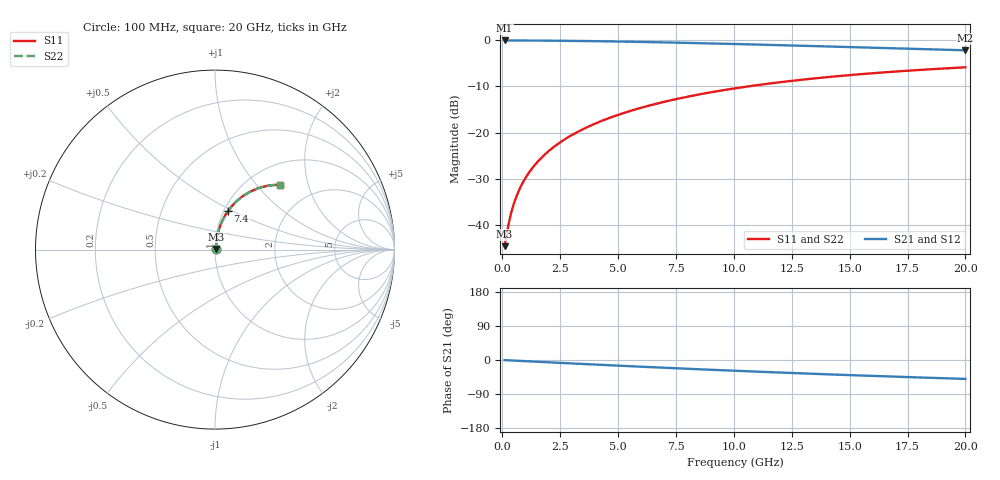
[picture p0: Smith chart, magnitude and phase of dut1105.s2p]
! Touchstone file exported from HFSS 2024.1.0
!  File:  C:/UserFiles/LocalFiles/RDL_TSV_Batchsim/temp_RDL_top_1105_1780046470.aedt
!  Generated:  05:23:22 PM May 29, 2026
!  Design:  RDL_top
!  Project:  temp_RDL_top_1105_1780046470
!  Setup:  Setup1
!  Solution:  Sweep
! Variables:
!  dtsv = 10.80580581um
!  hbump = 3um
!  htsv = 95.05um
!  ldown = 100um
!  lrdl = 646.43um
!  p = 40
!  p1 = 57.04um
!  rhole = 1um
!  t = 450um
!  tdown = 3.915915916um
!  trdl = 3.03um
!  wdown = 15.38538539um
!  wrdl = 15.79um
# GHz S MA R 50.000000
! Terminal data exported
! Port[1] = Box2_T1
! Port[2] = Box2_T2
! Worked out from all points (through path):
!   200 points, 100 MHz to 20 GHz, reference 50 ohm
!   highest |S21| = -0.04 dB at 100 MHz (marker M1); lowest = -2.2 dB at 20 GHz (marker M2)
!   group delay of S21, straight-line fit = 6.93 ps
!   lowest |S11| = -44.6 dB at 100 MHz (marker M3), VSWR 1.01, Z = 50.5 + j0.332 ohm
!   |S11| at or under -10 dB: start of sweep to 10.6 GHz
!   |S22| runs from -44.6 to -5.9 dB; largest |S21 - S12| = 2.6e-15
!   S11 on the Smith chart (normalised r, x): 100 MHz: 1.01, +0.01; 7.4 GHz: 1.05, +0.48; 20 GHz: 1.37, +1.34
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0.1  0.005901 33.9  0.9951 -0.3  0.9951 -0.3  0.005901 33.9
! Gamma 0 0 0 0
! Port Impedance 50 0 50 0
0.2  0.008252 52.5  0.995 -0.6  0.995 -0.6  0.008252 52.5
0.3  0.01106 62.0  0.9948 -0.9  0.9948 -0.9  0.01106 62.0
0.4  0.01403 67.3  0.9946 -1.3  0.9946 -1.3  0.01403 67.3
0.5  0.01704 70.7  0.9944 -1.6  0.9944 -1.6  0.01704 70.7
0.6  0.02007 73.0  0.9942 -1.9  0.9942 -1.9  0.02007 73.0
0.8  0.02615 75.9  0.9937 -2.5  0.9937 -2.5  0.02615 75.9
1.1  0.03531 78.2  0.9929 -3.4  0.9929 -3.4  0.03531 78.2
1.5  0.0476 79.6  0.9917 -4.6  0.9917 -4.6  0.0476 79.6
1.8  0.05685 80.0  0.9906 -5.5  0.9906 -5.5  0.05685 80.0
2.1  0.06613 80.2  0.9893 -6.4  0.9893 -6.4  0.06612 80.2
2.7  0.08471 79.9  0.9863 -8.2  0.9863 -8.2  0.08471 79.9
3.5  0.1095 79.0  0.9813 -10.6  0.9813 -10.6  0.1095 79.0
4.2  0.1311 77.9  0.976 -12.6  0.976 -12.6  0.1311 77.9
5  0.1557 76.4  0.9691 -14.9  0.9691 -14.9  0.1557 76.4
6.8  0.2099 72.7  0.9507 -19.9  0.9507 -19.9  0.2099 72.6
7.4  0.2276 71.3  0.9438 -21.6  0.9438 -21.6  0.2275 71.3
8.7  0.2648 68.4  0.9281 -25.0  0.9281 -25.0  0.2647 68.4
10.1  0.303 65.3  0.9102 -28.5  0.9102 -28.5  0.303 65.3
13.4  0.3846 58.0  0.8658 -36.4  0.8658 -36.4  0.3845 58.0
16.7  0.4533 51.3  0.8212 -43.5  0.8212 -43.5  0.4532 51.2
20  0.5096 45.1  0.7786 -49.9  0.7786 -49.9  0.5094 45.0
